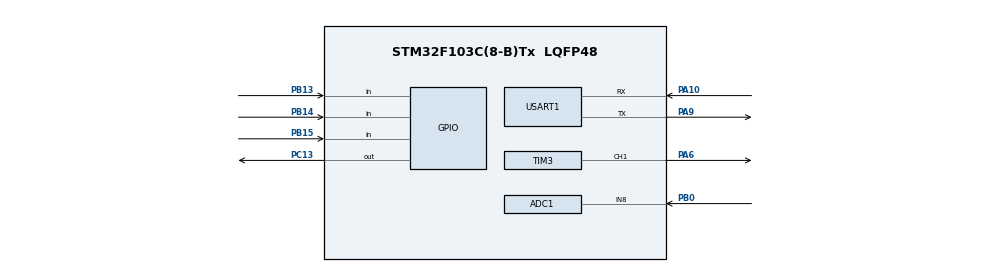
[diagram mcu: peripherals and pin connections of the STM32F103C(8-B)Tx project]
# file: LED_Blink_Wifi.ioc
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ADC1.Channel-0\#ChannelRegularConversion=ADC_CHANNEL_8
ADC1.NbrOfConversionFlag=1
ADC1.Rank-0\#ChannelRegularConversion=1
ADC1.SamplingTime-0\#ChannelRegularConversion=ADC_SAMPLETIME_1CYCLE_5
ADC1.master=1
Dma.Request0=TIM3_CH1/TRIG
Dma.TIM3_CH1/TRIG.0.Direction=DMA_MEMORY_TO_PERIPH
Dma.TIM3_CH1/TRIG.0.Instance=DMA1_Channel6
Dma.TIM3_CH1/TRIG.0.MemDataAlignment=DMA_MDATAALIGN_HALFWORD
Dma.TIM3_CH1/TRIG.0.MemInc=DMA_MINC_ENABLE
Dma.TIM3_CH1/TRIG.0.Mode=DMA_NORMAL
Dma.TIM3_CH1/TRIG.0.PeriphDataAlignment=DMA_PDATAALIGN_HALFWORD
Dma.TIM3_CH1/TRIG.0.PeriphInc=DMA_PINC_DISABLE
Dma.TIM3_CH1/TRIG.0.Priority=DMA_PRIORITY_LOW
Mcu.Family=STM32F1
Mcu.Name=STM32F103C(8-B)Tx
Mcu.Package=LQFP48
NVIC.DMA1_Channel6_IRQn=true\:0\:0\:false\:false\:true\:false\:true\:true
NVIC.PriorityGroup=NVIC_PRIORITYGROUP_4
PA10.Mode=Asynchronous
PA10.Signal=USART1_RX
PA13.Mode=Serial_Wire
PA13.Signal=SYS_JTMS-SWDIO
PA14.Mode=Serial_Wire
PA14.Signal=SYS_JTCK-SWCLK
PA6.Signal=S_TIM3_CH1
PA9.Mode=Asynchronous
PA9.Signal=USART1_TX
PB0.Signal=ADCx_IN8
PB13.Signal=GPIO_Input
PB14.Signal=GPIO_Input
PB15.Signal=GPIO_Input
PC13-TAMPER-RTC.Signal=GPIO_Output
PD0-OSC_IN.Mode=HSE-External-Oscillator
PD0-OSC_IN.Signal=RCC_OSC_IN
PD1-OSC_OUT.Mode=HSE-External-Oscillator
PD1-OSC_OUT.Signal=RCC_OSC_OUT
ProjectManager.HeapSize=0x200
ProjectManager.StackSize=0x400
ProjectManager.TargetToolchain=STM32CubeIDE
RCC.APB1Freq_Value=8000000
RCC.APB2Freq_Value=8000000
SH.ADCx_IN8.0=ADC1_IN8,IN8
SH.S_TIM3_CH1.0=TIM3_CH1,PWM Generation1 CH1
TIM3.Channel-PWM\ Generation1\ CH1=TIM_CHANNEL_1
TIM3.Period=3-1
TIM3.Prescaler=30-1
USART1.VirtualMode=VM_ASYNC
board=custom

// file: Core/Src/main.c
/* USER CODE BEGIN Header */
/**
  ******************************************************************************
  * @file           : main.c
  * @brief          : Main program body
  ******************************************************************************
  * @attention
  *
  * Copyright (c) 2025 STMicroelectronics.
  * All rights reserved.
  *
  * This software is licensed under terms that can be found in the LICENSE file
  * in the root directory of this software component.
  * If no LICENSE file comes with this software, it is provided AS-IS.
  *
  ******************************************************************************
  */
/* USER CODE END Header */
#include "main.h"

/* USER CODE BEGIN Includes */
#include "string.h"
#include "stdio.h"
/* USER CODE END Includes */

ADC_HandleTypeDef hadc1;

TIM_HandleTypeDef htim3;
DMA_HandleTypeDef hdma_tim3_ch1_trig;

UART_HandleTypeDef huart1;

/* USER CODE BEGIN PV */
int data;
/* USER CODE END PV */

void SystemClock_Config(void);
static void MX_GPIO_Init(void);
static void MX_DMA_Init(void);
static void MX_USART1_UART_Init(void);
static void MX_TIM3_Init(void);
static void MX_ADC1_Init(void);

/* USER CODE BEGIN 0 */
#define noOfLEDs 16
uint16_t pwmData[24*noOfLEDs];

void HAL_TIM_PWM_PulseFinishedCallback(TIM_HandleTypeDef *htim)
{
    HAL_TIM_PWM_Stop_DMA(&htim3, TIM_CHANNEL_1);
    htim3.Instance->CCR1 = 0;
}

void resetAllLED (void)
{
    for (int i=0; i<24*noOfLEDs; i++) pwmData[i] = 1;
}

void setAllLED (void)
{
    for (int i=0; i<24*noOfLEDs; i++) pwmData[i] = 2;
}

void setLED (int LEDposition, int Red, int Green, int Blue)
{
    for (int i=7; i>=0; i--) // Set the first 8 out of 24 to green
    {
        pwmData[24*LEDposition + 7 - i] = ((Green >> i) & 1) + 1;
    }
    for (int i=7; i>=0; i--) // Set the second 8 out of 24 to red
    {
        pwmData[24*LEDposition + 15 - i] = ((Red >> i) & 1) + 1;
    }
    for (int i=7; i>=0; i--) // Set the third 8 out of 24 to blue
    {
        pwmData[24*LEDposition + 23 - i] = ((Blue >> i) & 1) + 1;
    }
}

void ws2812Send(void)
{
    HAL_TIM_PWM_Start_DMA(&htim3, TIM_CHANNEL_1, (uint32_t *)pwmData, 24*noOfLEDs);
}
/* USER CODE END 0 */

int main(void)
{

  /* MCU Configuration--------------------------------------------------------*/

  /* Reset of all peripherals, Initializes the Flash interface and the Systick. */
  HAL_Init();

  /* Configure the system clock */
  SystemClock_Config();

  /* Initialize all configured peripherals */
  MX_GPIO_Init();
  MX_DMA_Init();
  MX_USART1_UART_Init();
  MX_TIM3_Init();
  MX_ADC1_Init();
  /* USER CODE BEGIN 2 */

  HAL_ADC_Start(&hadc1);

   uint8_t rxBuffer[512] = {0};
   uint8_t ATisOK;
   int channel;
   int onoff;
   int led = 0;
   int n=50*24; //no. of leds
   char ATcommand[64];
   char ATcommandB[1024];
   char ATcommandN[100];
   char ATcommandF[100];
   char ATcommandT[64];
   float battery_status = 0;
   float energy_usage = 0;
   float brightness_level = 0;
   int sensor_health = 0;
   float power_consumption = 0;

   /*sprintf(ATcommandB,"<!DOCTYPE html><html>\n<head>\n\
   <title>STM32 - ESP8266</title>\n<link href=\"data:image/x-icon;base64,\
   A\" rel=\"icon\" type=\"image/x-icon\"><style>\nhtml {\
   display: inline-block; margin: 0px auto; text-align: center;}\n\
   body{margin-top: 50px;}\n.button {display: block;\n\
   width: 70px;\nbackground-color: #008000;\nborder: none;\ncolor: white;\n\
   padding: 14px 28px;\ntext-decoration: none;\nfont-size: 24px;\n\
   margin: 0px auto 36px; \nborder-radius: 5px;}\n\
   .button-on {background-color: #008000;}\n.button-on:active\
   {background-color: #008000;}\n.button-off {background-color: #808080;}\n\
   .button-off:active {background-color: #808080;}\n\
   p {font-size: 14px;color: #808080;margin-bottom: 20px;}\n\
   </style>\n</head>\n<body>\n<h1>STM32 - ESP8266</h1>\n<p>Value of k: %d</p>", led);
   sprintf(ATcommandN,"<p>Light is currently on\
   </p><a class=\"button button-off\" href=\"/lightoff\">OFF</a>");
   sprintf(ATcommandF,"<p>Light is currently off\
   </p><a class=\"button button-on\" href=\"/lighton\">ON</a>");
   sprintf(ATcommandT,"</body></html>");*/

   sprintf(ATcommandB,"energy_usage: %f, light_status: OFF,brightness_level: %f,",energy_usage ,brightness_level);
   sprintf(ATcommandN,"power_consumption: %f, battery_status: %f, sensor_health: Excellent,",power_consumption, battery_status);
   sprintf(ATcommandF,"33");
   sprintf(ATcommandT," location: UBC ESC 208");

   int countB = strlen(ATcommandB);
   int countN = strlen(ATcommandN);
   int countF = strlen(ATcommandF);
   int countT = strlen(ATcommandT);

   sprintf(ATcommand,"AT+RST\r\n");
   memset(rxBuffer,0,sizeof(rxBuffer));
   HAL_UART_Transmit(&huart1,(uint8_t *)ATcommand,strlen(ATcommand),1000);
   HAL_UART_Receive (&huart1, rxBuffer, 512, 100);
   HAL_Delay(500);

   ATisOK = 0;
   while(!ATisOK){
     sprintf(ATcommand,"AT+CWJAP=\"Testing\",\"12346789\"\r\n");
     memset(rxBuffer,0,sizeof(rxBuffer));
     HAL_UART_Transmit(&huart1,(uint8_t *)ATcommand,strlen(ATcommand),1000);
     HAL_UART_Receive (&huart1, rxBuffer, 512, 1000);
     if(strstr((char *)rxBuffer,"OK")){
       ATisOK = 1;
     }
     HAL_Delay(500);
   }

   ATisOK = 0;
   while(!ATisOK){
     sprintf(ATcommand,"AT+CIPMUX=1\r\n");
       memset(rxBuffer,0,sizeof(rxBuffer));
       HAL_UART_Transmit(&huart1,(uint8_t *)ATcommand,strlen(ATcommand),1000);
       HAL_UART_Receive (&huart1, rxBuffer, 512, 1000);
       if(strstr((char *)rxBuffer,"OK")){
         ATisOK = 1;
       }
       HAL_Delay(500);
   }

   ATisOK = 0;
   while(!ATisOK){
     sprintf(ATcommand,"AT+CIPSERVER=1,80\r\n");
     memset(rxBuffer,0,sizeof(rxBuffer));
     HAL_UART_Transmit(&huart1,(uint8_t *)ATcommand,strlen(ATcommand),1000);
     HAL_UART_Receive (&huart1, rxBuffer, 512, 1000);
     if(strstr((char *)rxBuffer,"OK")){
         ATisOK = 1;
     }
     HAL_Delay(500);
   }
  /* USER CODE END 2 */

  /* Infinite loop */
  /* USER CODE BEGIN WHILE */

  while (1)
  {
      if (data > 3500 ){

    	  battery_status = 3.3;

			//HAL_Delay(250);
	  }

      if(HAL_GPIO_ReadPin(GPIOB, GPIO_PIN_14) == GPIO_PIN_RESET)
     	   		{
     	   		battery_status = 0 ;
     	   		}
     else
     	   		{
    	 	 battery_status = 3.3;
     	   		}

      if(HAL_GPIO_ReadPin(GPIOB, GPIO_PIN_15) == GPIO_PIN_RESET)
     	   		{
     	   		power_consumption = 10 ;
     	   		}
     else
     	   		{
	   			power_consumption = 100 ;
     	   		}

      if(HAL_GPIO_ReadPin(GPIOB, GPIO_PIN_13) == GPIO_PIN_RESET)
     	   		{
     	   		brightness_level = 0 ;
     	   		}
     else
     	   		{
    	 	 	 brightness_level = 53 ;
     	   		}

      sprintf(ATcommandB,"energy_usage: %f, light_status: OFF,brightness_level: %f,",energy_usage ,brightness_level);
      sprintf(ATcommandN,"power_consumption: %f, battery_status: %f, sensor_health: Excellent,",power_consumption, battery_status);
      sprintf(ATcommandF,"33");
      sprintf(ATcommandT," location: UBC ESC 208");

      countB = strlen(ATcommandB);
      countN = strlen(ATcommandN);
      countF = strlen(ATcommandF);
      countT = strlen(ATcommandT);

	  memset(rxBuffer,0,sizeof(rxBuffer));
	      HAL_UART_Receive (&huart1, rxBuffer, 512, 1000);
	      if(strstr((char *)rxBuffer,"+IPD,0")) channel = 0;
	      else if(strstr((char *)rxBuffer,"+IPD,1")) channel = 1;
	      else if(strstr((char *)rxBuffer,"+IPD,2")) channel = 2;
	      else if(strstr((char *)rxBuffer,"+IPD,3")) channel = 3;
	      else if(strstr((char *)rxBuffer,"+IPD,4")) channel = 4;
	      else if(strstr((char *)rxBuffer,"+IPD,5")) channel = 5;
	      else if(strstr((char *)rxBuffer,"+IPD,6")) channel = 6;
	      else if(strstr((char *)rxBuffer,"+IPD,7")) channel = 7;
	      else channel = 100;

	      if(strstr((char *)rxBuffer,"GET /lighton")) onoff = 0;
	      else if(strstr((char *)rxBuffer,"GET /lightoff")) onoff = 1;
	      else onoff = led;

	      if(channel<8 && onoff == 1)
	      {
	        HAL_GPIO_WritePin(GPIOC, GPIO_PIN_13, GPIO_PIN_SET);
	        led = 1;

	        /*uint16_t pwmData[n]; //16*24=384 (No of LEDs 64 and 24 Pulses for each LED)
	        for (int i=0; i<1536; i++) pwmData[i] = 2;
	        HAL_TIM_PWM_Start_DMA(&htim3, TIM_CHANNEL_1, (uint32_t *)pwmData, n);
	        HAL_Delay (10);
	        HAL_TIM_PWM_Stop_DMA(&htim3, TIM_CHANNEL_1);
	        HAL_Delay (200);*/

	       /* ws2812Send();
	         setLED(0, 255, 0, 0);     // Red
	         ws2812Send();
	         HAL_Delay (500);
	         setLED(1, 0, 255, 0);     // Green
	         ws2812Send();
	         HAL_Delay (500);
	         setLED(2, 0, 0, 255);     // Blue
	         ws2812Send();
	         HAL_Delay (500);
	         setLED(3, 255, 255, 0);   // Yellow
	         ws2812Send();
	         HAL_Delay (500);
	         setLED(4, 0, 255, 255);   // Magenta
	         ws2812Send();
	         HAL_Delay (500);
	         setLED(5, 255, 0, 255);   // Cyan
	         ws2812Send();
	         HAL_Delay (500);
	         resetAllLED();
	         ws2812Send();
	         setLED(6, 255, 255, 255); // Specific color
	         ws2812Send();
	         */

	        sprintf(ATcommand,"AT+CIPSEND=%d,%d\r\n",channel,countB+countF+countT);
	        memset(rxBuffer,0,sizeof(rxBuffer));
	        HAL_UART_Transmit(&huart1,(uint8_t *)ATcommand,strlen(ATcommand),1000);
	        HAL_UART_Receive (&huart1, rxBuffer, 512, 100);
	        if(strstr((char *)rxBuffer,">"))
	        {
	          memset(rxBuffer,0,sizeof(rxBuffer));
	            HAL_UART_Transmit(&huart1,(uint8_t *)ATcommandB,countB,1000);
	            HAL_UART_Transmit(&huart1,(uint8_t *)ATcommandF,countF,1000);
	            HAL_UART_Transmit(&huart1,(uint8_t *)ATcommandT,countT,1000);
	           HAL_UART_Receive (&huart1, rxBuffer, 512, 100);
	        }
	        sprintf(ATcommand,"AT+CIPCLOSE=%d\r\n",channel);
	        memset(rxBuffer,0,sizeof(rxBuffer));
	        HAL_UART_Transmit(&huart1,(uint8_t *)ATcommand,strlen(ATcommand),1000);
	        HAL_UART_Receive (&huart1, rxBuffer, 512, 100);
	        channel=100;
	      }
	      else if(channel<8 && onoff == 0)
	      {
	        HAL_GPIO_WritePin(GPIOC, GPIO_PIN_13, GPIO_PIN_RESET);
	        led = 0;
	        /*for (int i=0; i<n; i++) pwmData[i] = 1;
	        HAL_TIM_PWM_Start_DMA(&htim3, TIM_CHANNEL_1, (uint32_t *)pwmData, n);
	        HAL_Delay (10);
	        HAL_TIM_PWM_Stop_DMA(&htim3, TIM_CHANNEL_1);
	        HAL_Delay (500);*/

	        sprintf(ATcommand,"AT+CIPSEND=%d,%d\r\n",channel,countB+countN+countT);
	        memset(rxBuffer,0,sizeof(rxBuffer));
	        HAL_UART_Transmit(&huart1,(uint8_t *)ATcommand,strlen(ATcommand),1000);
	        HAL_UART_Receive (&huart1, rxBuffer, 512, 100);
	        if(strstr((char *)rxBuffer,">"))
	        {
	          memset(rxBuffer,0,sizeof(rxBuffer));
	            HAL_UART_Transmit(&huart1,(uint8_t *)ATcommandB,countB,1000);
	            HAL_UART_Transmit(&huart1,(uint8_t *)ATcommandN,countN,1000);
	            HAL_UART_Transmit(&huart1,(uint8_t *)ATcommandT,countT,1000);
	            HAL_UART_Receive (&huart1, rxBuffer, 512, 100);
	        }
	        sprintf(ATcommand,"AT+CIPCLOSE=%d\r\n",channel);
	        memset(rxBuffer,0,sizeof(rxBuffer));
	        HAL_UART_Transmit(&huart1,(uint8_t *)ATcommand,strlen(ATcommand),1000);
	        HAL_UART_Receive (&huart1, rxBuffer, 512, 100);
	        channel=100;
	      }
    /* USER CODE END WHILE */

  }
}

void SystemClock_Config(void)
{
  RCC_OscInitTypeDef RCC_OscInitStruct = {0};
  RCC_ClkInitTypeDef RCC_ClkInitStruct = {0};
  RCC_PeriphCLKInitTypeDef PeriphClkInit = {0};

  /** Initializes the RCC Oscillators according to the specified parameters
  * in the RCC_OscInitTypeDef structure.
  */
  RCC_OscInitStruct.OscillatorType = RCC_OSCILLATORTYPE_HSI;
  RCC_OscInitStruct.HSIState = RCC_HSI_ON;
  RCC_OscInitStruct.HSICalibrationValue = RCC_HSICALIBRATION_DEFAULT;
  RCC_OscInitStruct.PLL.PLLState = RCC_PLL_NONE;
  if (HAL_RCC_OscConfig(&RCC_OscInitStruct) != HAL_OK)
  {
    Error_Handler();
  }

  /** Initializes the CPU, AHB and APB buses clocks
  */
  RCC_ClkInitStruct.ClockType = RCC_CLOCKTYPE_HCLK|RCC_CLOCKTYPE_SYSCLK
                              |RCC_CLOCKTYPE_PCLK1|RCC_CLOCKTYPE_PCLK2;
  RCC_ClkInitStruct.SYSCLKSource = RCC_SYSCLKSOURCE_HSI;
  RCC_ClkInitStruct.AHBCLKDivider = RCC_SYSCLK_DIV1;
  RCC_ClkInitStruct.APB1CLKDivider = RCC_HCLK_DIV1;
  RCC_ClkInitStruct.APB2CLKDivider = RCC_HCLK_DIV1;

  if (HAL_RCC_ClockConfig(&RCC_ClkInitStruct, FLASH_LATENCY_0) != HAL_OK)
  {
    Error_Handler();
  }
  PeriphClkInit.PeriphClockSelection = RCC_PERIPHCLK_ADC;
  PeriphClkInit.AdcClockSelection = RCC_ADCPCLK2_DIV2;
  if (HAL_RCCEx_PeriphCLKConfig(&PeriphClkInit) != HAL_OK)
  {
    Error_Handler();
  }
}

static void MX_ADC1_Init(void)
{

  ADC_ChannelConfTypeDef sConfig = {0};

  /** Common config
  */
  hadc1.Instance = ADC1;
  hadc1.Init.ScanConvMode = ADC_SCAN_DISABLE;
  hadc1.Init.ContinuousConvMode = DISABLE;
  hadc1.Init.DiscontinuousConvMode = DISABLE;
  hadc1.Init.ExternalTrigConv = ADC_SOFTWARE_START;
  hadc1.Init.DataAlign = ADC_DATAALIGN_RIGHT;
  hadc1.Init.NbrOfConversion = 1;
  if (HAL_ADC_Init(&hadc1) != HAL_OK)
  {
    Error_Handler();
  }

  /** Configure Regular Channel
  */
  sConfig.Channel = ADC_CHANNEL_8;
  sConfig.Rank = ADC_REGULAR_RANK_1;
  sConfig.SamplingTime = ADC_SAMPLETIME_1CYCLE_5;
  if (HAL_ADC_ConfigChannel(&hadc1, &sConfig) != HAL_OK)
  {
    Error_Handler();
  }

}

static void MX_TIM3_Init(void)
{

  TIM_MasterConfigTypeDef sMasterConfig = {0};
  TIM_OC_InitTypeDef sConfigOC = {0};

  htim3.Instance = TIM3;
  htim3.Init.Prescaler = 30-1;
  htim3.Init.CounterMode = TIM_COUNTERMODE_UP;
  htim3.Init.Period = 3-1;
  htim3.Init.ClockDivision = TIM_CLOCKDIVISION_DIV1;
  htim3.Init.AutoReloadPreload = TIM_AUTORELOAD_PRELOAD_DISABLE;
  if (HAL_TIM_PWM_Init(&htim3) != HAL_OK)
  {
    Error_Handler();
  }
  sMasterConfig.MasterOutputTrigger = TIM_TRGO_RESET;
  sMasterConfig.MasterSlaveMode = TIM_MASTERSLAVEMODE_DISABLE;
  if (HAL_TIMEx_MasterConfigSynchronization(&htim3, &sMasterConfig) != HAL_OK)
  {
    Error_Handler();
  }
  sConfigOC.OCMode = TIM_OCMODE_PWM1;
  sConfigOC.Pulse = 0;
  sConfigOC.OCPolarity = TIM_OCPOLARITY_HIGH;
  sConfigOC.OCFastMode = TIM_OCFAST_DISABLE;
  if (HAL_TIM_PWM_ConfigChannel(&htim3, &sConfigOC, TIM_CHANNEL_1) != HAL_OK)
  {
    Error_Handler();
  }
  HAL_TIM_MspPostInit(&htim3);

}

static void MX_USART1_UART_Init(void)
{

  huart1.Instance = USART1;
  huart1.Init.BaudRate = 115200;
  huart1.Init.WordLength = UART_WORDLENGTH_8B;
  huart1.Init.StopBits = UART_STOPBITS_1;
  huart1.Init.Parity = UART_PARITY_NONE;
  huart1.Init.Mode = UART_MODE_TX_RX;
  huart1.Init.HwFlowCtl = UART_HWCONTROL_NONE;
  huart1.Init.OverSampling = UART_OVERSAMPLING_16;
  if (HAL_UART_Init(&huart1) != HAL_OK)
  {
    Error_Handler();
  }

}

static void MX_DMA_Init(void)
{

  /* DMA controller clock enable */
  __HAL_RCC_DMA1_CLK_ENABLE();

  /* DMA interrupt init */
  /* DMA1_Channel6_IRQn interrupt configuration */
  HAL_NVIC_SetPriority(DMA1_Channel6_IRQn, 0, 0);
  HAL_NVIC_EnableIRQ(DMA1_Channel6_IRQn);

}

static void MX_GPIO_Init(void)
{
  GPIO_InitTypeDef GPIO_InitStruct = {0};

  /* GPIO Ports Clock Enable */
  __HAL_RCC_GPIOC_CLK_ENABLE();
  __HAL_RCC_GPIOD_CLK_ENABLE();
  __HAL_RCC_GPIOA_CLK_ENABLE();
  __HAL_RCC_GPIOB_CLK_ENABLE();

  /*Configure GPIO pin Output Level */
  HAL_GPIO_WritePin(GPIOC, GPIO_PIN_13, GPIO_PIN_RESET);

  /*Configure GPIO pin : PC13 */
  GPIO_InitStruct.Pin = GPIO_PIN_13;
  GPIO_InitStruct.Mode = GPIO_MODE_OUTPUT_PP;
  GPIO_InitStruct.Pull = GPIO_NOPULL;
  GPIO_InitStruct.Speed = GPIO_SPEED_FREQ_LOW;
  HAL_GPIO_Init(GPIOC, &GPIO_InitStruct);

  /*Configure GPIO pins : PB13 PB14 PB15 */
  GPIO_InitStruct.Pin = GPIO_PIN_13|GPIO_PIN_14|GPIO_PIN_15;
  GPIO_InitStruct.Mode = GPIO_MODE_INPUT;
  GPIO_InitStruct.Pull = GPIO_NOPULL;
  HAL_GPIO_Init(GPIOB, &GPIO_InitStruct);

}

void Error_Handler(void)
{
  __disable_irq();
  while (1)
  {
  }
}
